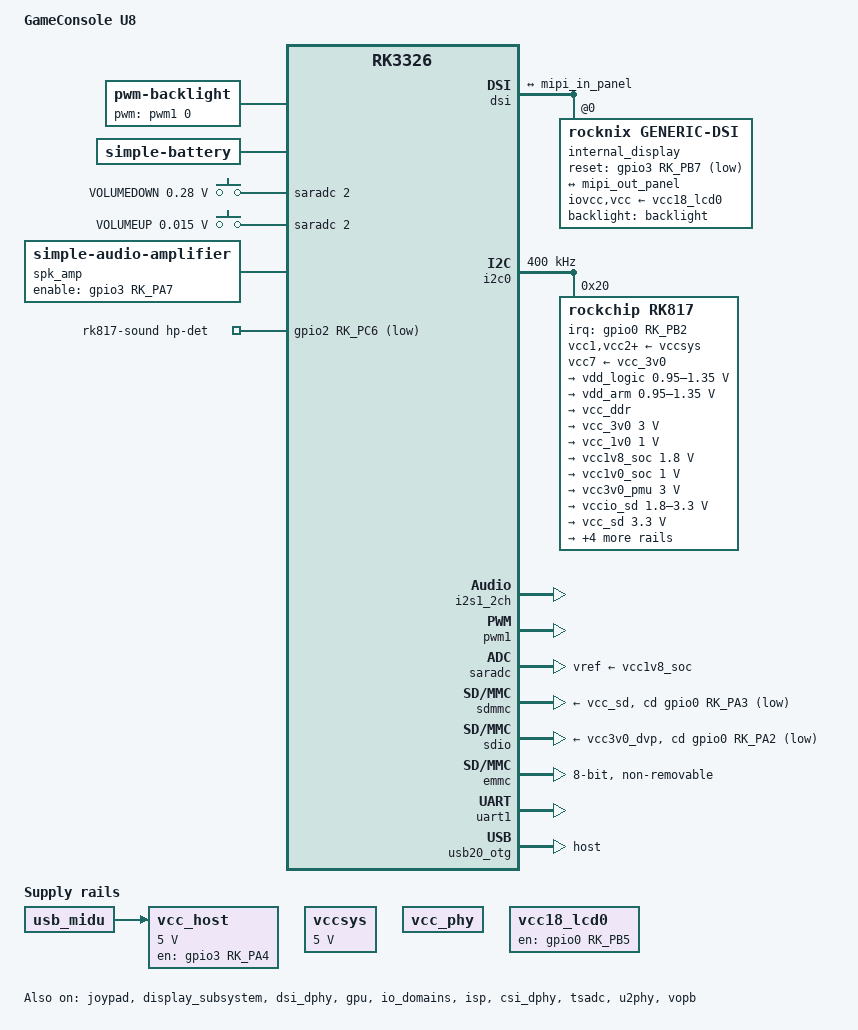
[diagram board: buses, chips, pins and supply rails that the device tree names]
// SPDX-License-Identifier: (GPL-2.0+ OR MIT)
/*
* Copyright (c) 2019 Hardkernel Co., Ltd
* Copyright (c) 2020 Theobroma Systems Design und Consulting GmbH
* Copyright (c) 2022 Maya Matuszczyk <maccraft123mc@gmail.com>
*/

/dts-v1/;
#include <dt-bindings/gpio/gpio.h>
#include <dt-bindings/input/input.h>
#include <dt-bindings/leds/common.h>
#include <dt-bindings/pinctrl/rockchip.h>
#include "rk3326.dtsi"
#include "retrogame_joypad_s2_f1.dtsi"

/ {
	model = "GameConsole U8";
	compatible = "gameconsole,u8", "rockchip,rk3326";
	
	aliases {
		mmc0 = &emmc;
		mmc1 = &sdmmc;
		mmc2 = &sdio;
	};
	
	chosen {
		systemd.debug_shell = "ttyS0";
	};
	
	backlight: backlight {
		compatible = "pwm-backlight";
		pwms = <&pwm1 0 25000 0>;
		brightness-levels = <
		0   1   2   3   4   5   6   7
		8   9  10  11  12  13  14  15
		16  17  18  19  20  21  22  23
		24  25  26  27  28  29  30  31
		32  33  34  35  36  37  38  39
		40  41  42  43  44  45  46  47
		48  49  50  51  52  53  54  55
		56  57  58  59  60  61  62  63
		64  65  66  67  68  69  70  71
		72  73  74  75  76  77  78  79
		80  81  82  83  84  85  86  87
		88  89  90  91  92  93  94  95
		96  97  98  99 100 101 102 103
		104 105 106 107 108 109 110 111
		112 113 114 115 116 117 118 119
		120 121 122 123 124 125 126 127
		128 129 130 131 132 133 134 135
		136 137 138 139 140 141 142 143
		144 145 146 147 148 149 150 151
		152 153 154 155 156 157 158 159
		160 161 162 163 164 165 166 167
		168 169 170 171 172 173 174 175
		176 177 178 179 180 181 182 183
		184 185 186 187 188 189 190 191
		192 193 194 195 196 197 198 199
		200 201 202 203 204 205 206 207
		208 209 210 211 212 213 214 215
		216 217 218 219 220 221 222 223
		224 225 226 227 228 229 230 231
		232 233 234 235 236 237 238 239
		240 241 242 243 244 245 246 247
		248 249 250 251 252 253 254 255>;
		default-brightness-level = <128>;
	};
	
	battery: battery {
		compatible = "simple-battery";
		charge-full-design-microamp-hours = <3000000>;
		charge-term-current-microamp = <200000>;
		constant-charge-current-max-microamp = <1500000>;
		constant-charge-voltage-max-microvolt = <4200000>;
		factory-internal-resistance-micro-ohms = <100000>;
		voltage-max-design-microvolt = <4100000>;
		voltage-min-design-microvolt = <3300000>;
		
		ocv-capacity-celsius = <20>;
		ocv-capacity-table-0 =
		<4046950 100>, <4001920 95>, <3967900 90>, <3940000 85>,
		<3910000 80>, <3870000 75>, <3830000 70>, <3790000 65>,
		<3750000 60>, <3720000 55>, <3690000 50>, <3650000 45>,
		<3610000 40>, <3570000 35>, <3540000 30>, <3500000 25>,
		<3460000 20>, <3420000 15>, <3380000 10>, <3340000 5>,
		<3300000 0>;
	};
	
	adc_keys: adc-keys {
		compatible = "adc-keys";
		io-channels = <&saradc 2>;
		io-channel-names = "buttons";
		keyup-threshold-microvolt = <1800000>;
		poll-interval = <60>;
		
		vol-down-key {
			label = "VOLUMEDOWN";
			linux,code = <KEY_VOLUMEDOWN>;
			press-threshold-microvolt = <280000>;
		};
		
		vol-up-key {
			label = "VOLUMEUP";
			linux,code = <KEY_VOLUMEUP>;
			press-threshold-microvolt = <15000>;
		};
	};
	
	spk_amp: audio-amplifier {
		compatible = "simple-audio-amplifier";
		enable-gpios = <&gpio3 RK_PA7 GPIO_ACTIVE_HIGH>;
		pinctrl-0 = <&spk_amp_enable_h>;
		pinctrl-names = "default";
		sound-name-prefix = "Speaker Amp";
	};
	
	rk817-sound {
		compatible = "simple-audio-card";
		pinctrl-names = "default";
		pinctrl-0 = <&hp_det>;
		simple-audio-card,name = "rk817_ext";
		simple-audio-card,aux-devs = <&spk_amp>;
		simple-audio-card,format = "i2s";
		simple-audio-card,hp-det-gpio = <&gpio2 RK_PC6 GPIO_ACTIVE_LOW>;
		simple-audio-card,mclk-fs = <256>;
		simple-audio-card,widgets =
		"Microphone", "Mic Jack",
		"Headphone", "Headphones",
		"Speaker", "Speaker";
		simple-audio-card,routing =
		"MICL", "Mic Jack",
		"Headphones", "HPOL",
		"Headphones", "HPOR",
		"Speaker", "SPKO";
		
		simple-audio-card,codec {
			sound-dai = <&rk817>;
		};
		
		simple-audio-card,cpu {
			sound-dai = <&i2s1_2ch>;
		};
	};
	
	vccsys: vccsys {
		compatible = "regulator-fixed";
		regulator-name = "vcc3v8_sys";
		regulator-always-on;
		regulator-boot-on;
		regulator-min-microvolt = <5000000>;
		regulator-max-microvolt = <5000000>;
	};
	
	vcc-phy-regulator {
		compatible = "regulator-fixed";
		regulator-name = "vcc_phy";
		regulator-always-on;
		regulator-boot-on;
	};
	
	vcc18_lcd0: vcc18-lcd0 {
		compatible = "regulator-fixed";
		regulator-name = "vcc18_lcd0_n";
		gpio = <&gpio0 RK_PB5 GPIO_ACTIVE_HIGH>;
		enable-active-high;
		pinctrl-0 = <&vcc18_lcd_n>;
		pinctrl-names = "default";
		regulator-boot-on;
		
		regulator-state-mem {
			regulator-off-in-suspend;
		};
	};
	
	vcc_host: vcc_host {
		compatible = "regulator-fixed";
		regulator-name = "vcc_host";
		regulator-min-microvolt = <5000000>;
		regulator-max-microvolt = <5000000>;
		gpio = <&gpio3 RK_PA4 GPIO_ACTIVE_HIGH>;
		pinctrl-0 = <&vcc5_usb>;
		pinctrl-names = "default";
		enable-active-high;
		regulator-always-on;
		regulator-boot-on;
		vin-supply = <&usb_midu>;
	};
};

&joypad {
	compatible = "rocknix-singleadc-joypad";
	joypad-name = "retrogame_joypad";
	joypad-product = <0x1101>;
	joypad-revision = <0x0100>;
	joypad-vendor = <0x484B>;
	
	status = "okay";
	
	/* gpio pincontrol setup */
	pinctrl-names = "default";
	pinctrl-0 = <&btn_pins>;
	
	/* Analog mux define */
	io-channel-names = "amux_adc";
	io-channels = <&saradc 1>;
	
	/* adc mux channel count */
	amux-count = <4>;
	amux-channel-mapping = <2 3 1 0>;
	/* adc mux select(a,b) gpio */
	amux-a-gpios = <&gpio2 RK_PC0 GPIO_ACTIVE_LOW>;
	amux-b-gpios = <&gpio2 RK_PB7 GPIO_ACTIVE_LOW>;
	/* adc mux enable gpio */
	amux-en-gpios = <&gpio2 RK_PB4 GPIO_ACTIVE_LOW>;
	/* adc calculate scale */
	button-adc-scale = <2>;
	/* adc deadzone range  */
	button-adc-deadzone = <64>;
	/*
	specifies fuzz value that is used to filter noise from
	the event stream.
	*/
	button-adc-fuzz = <32>;
	button-adc-flat = <32>;
	/*
	Analog Stick data tuning value(precent)
	p = positive direction, n = negative direction
	report value = (real_adc_data * tuning_value) / 100
	*/
	abs_x-p-tuning = <200>;
	abs_x-n-tuning = <200>;
	
	abs_y-p-tuning = <200>;
	abs_y-n-tuning = <200>;
	
	abs_rx-p-tuning = <200>;
	abs_rx-n-tuning = <200>;
	
	abs_ry-p-tuning = <200>;
	abs_ry-n-tuning = <200>;
	
	/* poll device interval (ms), adc read interval */
	poll-interval = <10>;
	/* required for RG351MP */
	invert-absx;
	invert-absy;
	invert-absrx;
	invert-absry;
up      { gpios = <&gpio3 RK_PC6 GPIO_ACTIVE_LOW>; };
down    { gpios = <&gpio3 RK_PC7 GPIO_ACTIVE_LOW>; };
left    { gpios = <&gpio3 RK_PC4 GPIO_ACTIVE_LOW>; };
right   { gpios = <&gpio3 RK_PC5 GPIO_ACTIVE_LOW>; };
a       { gpios = <&gpio3 RK_PC0 GPIO_ACTIVE_LOW>; };
b       { gpios = <&gpio3 RK_PC1 GPIO_ACTIVE_LOW>; };
y       { gpios = <&gpio3 RK_PC3 GPIO_ACTIVE_LOW>; };
x       { gpios = <&gpio3 RK_PC2 GPIO_ACTIVE_LOW>; };
select  { gpios = <&gpio3 RK_PD0 GPIO_ACTIVE_LOW>; };
start   { gpios = <&gpio3 RK_PD1 GPIO_ACTIVE_LOW>; };
mode    { gpios = <&gpio3 RK_PB2 GPIO_ACTIVE_LOW>; };
tl      { gpios = <&gpio3 RK_PB5 GPIO_ACTIVE_LOW>; };
tr      { gpios = <&gpio3 RK_PB3 GPIO_ACTIVE_LOW>; };
tl2     { gpios = <&gpio3 RK_PB6 GPIO_ACTIVE_LOW>; };
tr2     { gpios = <&gpio3 RK_PB4 GPIO_ACTIVE_LOW>; };
thumbl  { gpios = <&gpio2 RK_PB5 GPIO_ACTIVE_LOW>; };
thumbr  { gpios = <&gpio2 RK_PB6 GPIO_ACTIVE_LOW>; };
};

&dmc {
	center-supply = <&vdd_logic>;
};

&cpu0 {
	cpu-supply = <&vdd_arm>;
};

&cpu1 {
	cpu-supply = <&vdd_arm>;
};

&cpu2 {
	cpu-supply = <&vdd_arm>;
};

&cpu3 {
	cpu-supply = <&vdd_arm>;
};

&cru {
	assigned-clocks = <&cru PLL_NPLL>,
	<&cru ACLK_BUS_PRE>, <&cru ACLK_PERI_PRE>,
	<&cru HCLK_BUS_PRE>, <&cru HCLK_PERI_PRE>,
	<&cru PCLK_BUS_PRE>, <&cru SCLK_GPU>;
	
	assigned-clock-rates = <1188000000>,
	<200000000>, <200000000>,
	<150000000>, <150000000>,
	<100000000>, <200000000>;
};

&display_subsystem {
	status = "okay";
};

&dsi {
	status = "okay";
	
	ports {
		mipi_out: port@1 {
			reg = <1>;
			
			mipi_out_panel: endpoint {
				remote-endpoint = <&mipi_in_panel>;
			};
		};
	};
	
	internal_display: panel@0 {
		compatible = "rocknix,generic-dsi";
		iovcc-supply = <&vcc18_lcd0>;
		vcc-supply = <&vcc18_lcd0>;
		reg = <0>;
		rotation = <0x10e>;
		backlight = <&backlight>;
		reset-gpios = <&gpio3 RK_PB7 GPIO_ACTIVE_LOW>;
		pinctrl-names = "default";
		pinctrl-0 = <&lcd_rst>;
		panel_description =
		"G size=153,85 delays=20,20,20,120,20 format=rgb888 lanes=2 flags=0xe03",
		
		"M clock=30000 horizontal=480,32,6,32 vertical=800,10,4,12 default=1",
		"M clock=23600 horizontal=480,32,28,32 vertical=800,10,4,12",
		"M clock=22770 horizontal=480,32,6,32 vertical=800,10,6,12",
		"M clock=23930 horizontal=480,32,17,32 vertical=800,10,31,12",
		"M clock=30360 horizontal=480,32,6,32 vertical=800,10,138,12",
		"M clock=33320 horizontal=480,32,27,32 vertical=800,10,155,12",
		"M clock=31440 horizontal=480,32,28,32 vertical=800,10,95,12",
		"M clock=30030 horizontal=480,32,28,32 vertical=800,10,53,12",
		"M clock=33820 horizontal=480,32,21,32 vertical=800,10,174,12",
		"M clock=40280 horizontal=480,32,25,32 vertical=800,10,116,12",
		"M clock=41580 horizontal=480,32,6,32 vertical=800,10,18,12",
		"M clock=54780 horizontal=480,32,6,32 vertical=800,10,8,12",
		
		"I seq=ffff98060401",
		"I seq=0810",
		"I seq=2101",
		"I seq=2203",
		"I seq=3002",
		"I seq=3102",
		"I seq=6007",
		"I seq=6106",
		"I seq=6206",
		"I seq=6304",
		"I seq=4015",
		"I seq=4133",
		"I seq=4200",
		"I seq=430b",
		"I seq=4409",
		"I seq=5070",
		"I seq=5170",
		"I seq=5200",
		"I seq=5352",
		
		"I seq=a000",
		"I seq=a10c",
		"I seq=a214",
		"I seq=a30c",
		"I seq=a405",
		"I seq=a50b",
		"I seq=a607",
		"I seq=a706",
		"I seq=a806",
		"I seq=a90a",
		"I seq=aa0f",
		"I seq=ab06",
		"I seq=ac0c",
		"I seq=ad17",
		"I seq=ae0d",
		"I seq=af00",
		
		"I seq=c000",
		"I seq=c10c",
		"I seq=c214",
		"I seq=c30c",
		"I seq=c406",
		"I seq=c50b",
		"I seq=c607",
		"I seq=c706",
		"I seq=c806",
		"I seq=c90a",
		"I seq=ca0f",
		"I seq=cb06",
		"I seq=cc0c",
		"I seq=cd17",
		"I seq=ce0d",
		"I seq=cf00",
		
		"I seq=ffff98060406",
		"I seq=0020",
		"I seq=0105",
		"I seq=0200",
		"I seq=0300",
		"I seq=0401",
		"I seq=0501",
		"I seq=0688",
		"I seq=0704",
		"I seq=0801",
		"I seq=0990",
		"I seq=0a04",
		"I seq=0b01",
		"I seq=0c01",
		"I seq=0d01",
		"I seq=0e00",
		"I seq=0f00",
		
		"I seq=1055",
		"I seq=1150",
		"I seq=1201",
		"I seq=130c",
		"I seq=140d",
		"I seq=1543",
		"I seq=160b",
		"I seq=1700",
		"I seq=1800",
		"I seq=1900",
		"I seq=1a00",
		"I seq=1b00",
		"I seq=1c00",
		"I seq=1d00",
		
		"I seq=2001",
		"I seq=2123",
		"I seq=2245",
		"I seq=2367",
		"I seq=2401",
		"I seq=2523",
		"I seq=2645",
		"I seq=2767",
		
		"I seq=3002",
		"I seq=3122",
		"I seq=3211",
		"I seq=33aa",
		"I seq=34bb",
		"I seq=3566",
		"I seq=3600",
		"I seq=3722",
		"I seq=3822",
		"I seq=3922",
		"I seq=3a22",
		"I seq=3b22",
		"I seq=3c22",
		"I seq=3d22",
		"I seq=3e22",
		"I seq=3f22",
		"I seq=4022",
		
		"I seq=5210",
		"I seq=5310",
		
		"I seq=ffff98060407",
		"I seq=0011",
		"I seq=181d",
		"I seq=1722",
		"I seq=0277",
		"I seq=e179",
		
		"I seq=ffff98060400",
		"I seq=11 wait=120",
		"I seq=29 wait=20";
		
		port {
			mipi_in_panel: endpoint {
				remote-endpoint = <&mipi_out_panel>;
			};
		};
	};
};

&dsi_dphy {
	status = "okay";
};

&gpu {
	mali-supply = <&vdd_logic>;
	status = "okay";
};

&i2c0 {
	clock-frequency = <400000>;
	i2c-scl-falling-time-ns = <16>;
	i2c-scl-rising-time-ns = <280>;
	status = "okay";
	
	rk817: pmic@20 {
		compatible = "rockchip,rk817";
		reg = <0x20>;
		interrupt-parent = <&gpio0>;
		interrupts = <RK_PB2 IRQ_TYPE_LEVEL_LOW>;
		clock-output-names = "rk808-clkout1", "xin32k";
		clock-names = "mclk";
		clocks = <&cru SCLK_I2S1_OUT>;
		pinctrl-names = "default";
		pinctrl-0 = <&pmic_int>, <&i2s1_2ch_mclk>;
		rockchip,system-power-controller;
		wakeup-source;
		#clock-cells = <1>;
		#sound-dai-cells = <0>;
		
		vcc1-supply = <&vccsys>;
		vcc2-supply = <&vccsys>;
		vcc3-supply = <&vccsys>;
		vcc4-supply = <&vccsys>;
		vcc5-supply = <&vccsys>;
		vcc6-supply = <&vccsys>;
		vcc7-supply = <&vcc_3v0>;
		vcc8-supply = <&vccsys>;
		
		regulators {
			vdd_logic: DCDC_REG1 {
				regulator-name = "vdd_logic";
				regulator-min-microvolt = <950000>;
				regulator-max-microvolt = <1350000>;
				regulator-initial-mode = <0x02>;
				regulator-ramp-delay = <6001>;
				regulator-always-on;
				regulator-boot-on;
				
				regulator-state-mem {
					regulator-on-in-suspend;
					regulator-suspend-microvolt = <950000>;
				};
			};
			
			vdd_arm: DCDC_REG2 {
				regulator-name = "vdd_arm";
				regulator-min-microvolt = <950000>;
				regulator-max-microvolt = <1350000>;
				regulator-ramp-delay = <6001>;
				regulator-initial-mode = <0x02>;
				regulator-always-on;
				regulator-boot-on;
				
				regulator-state-mem {
					regulator-off-in-suspend;
					regulator-suspend-microvolt = <950000>;
				};
			};
			
			vcc_ddr: DCDC_REG3 {
				regulator-name = "vcc_ddr";
				regulator-always-on;
				regulator-boot-on;
				regulator-initial-mode = <0x02>;
				
				regulator-state-mem {
					regulator-on-in-suspend;
				};
			};
			
			vcc_3v0: DCDC_REG4 {
				regulator-name = "vcc_3v0";
				regulator-min-microvolt = <3000000>;
				regulator-max-microvolt = <3000000>;
				regulator-initial-mode = <0x02>;
				regulator-always-on;
				regulator-boot-on;
				
				regulator-state-mem {
					regulator-off-in-suspend;
					regulator-suspend-microvolt = <3000000>;
				};
			};
			
			vcc_1v0: LDO_REG1 {
				regulator-name = "vcc_1v0";
				regulator-always-on;
				regulator-boot-on;
				regulator-min-microvolt = <1000000>;
				regulator-max-microvolt = <1000000>;
				
				regulator-state-mem {
					regulator-on-in-suspend;
					regulator-suspend-microvolt = <1000000>;
				};
			};
			
			vcc1v8_soc: LDO_REG2 {
				regulator-name = "vcc1v8_soc";
				regulator-min-microvolt = <1800000>;
				regulator-max-microvolt = <1800000>;
				regulator-always-on;
				regulator-boot-on;
				
				regulator-state-mem {
					regulator-on-in-suspend;
					regulator-suspend-microvolt = <1800000>;
				};
			};
			
			vcc1v0_soc: LDO_REG3 {
				regulator-name = "vcc1v0_soc";
				regulator-min-microvolt = <1000000>;
				regulator-max-microvolt = <1000000>;
				regulator-always-on;
				regulator-boot-on;
				
				regulator-state-mem {
					regulator-on-in-suspend;
					regulator-suspend-microvolt = <1000000>;
				};
			};
			
			vcc3v0_pmu: LDO_REG4 {
				regulator-name = "vcc3v0_pmu";
				regulator-min-microvolt = <3000000>;
				regulator-max-microvolt = <3000000>;
				regulator-always-on;
				regulator-boot-on;
				
				regulator-state-mem {
					regulator-on-in-suspend;
					regulator-suspend-microvolt = <3000000>;
				};
			};
			
			vccio_sd: LDO_REG5 {
				regulator-name = "vccio_sd";
				regulator-min-microvolt = <1800000>;
				regulator-max-microvolt = <3300000>;
				regulator-always-on;
				regulator-boot-on;
				
				regulator-state-mem {
					regulator-on-in-suspend;
					regulator-suspend-microvolt = <3300000>;
				};
			};
			
			vcc_sd: LDO_REG6 {
				regulator-name = "vcc_sd";
				regulator-min-microvolt = <3300000>;
				regulator-max-microvolt = <3300000>;
				
				regulator-state-mem {
					regulator-on-in-suspend;
					regulator-suspend-microvolt = <3300000>;
				};
			};
			
			vcc2v8_dvp: LDO_REG7 {
				regulator-name = "vcc2v8_dvp";
				regulator-min-microvolt = <1800000>;
				regulator-max-microvolt = <3300000>;
				regulator-always-on;
				regulator-boot-on;
				
				regulator-state-mem {
					regulator-on-in-suspend;
					regulator-suspend-microvolt = <3300000>;
				};
			};
			
			vcc3v0_dvp: LDO_REG8 {
				regulator-name = "vcc3v0_dvp";
				regulator-min-microvolt = <3300000>;
				regulator-max-microvolt = <3300000>;
				regulator-always-on;
				regulator-boot-on;
				
				regulator-state-mem {
					regulator-on-in-suspend;
					regulator-suspend-microvolt = <3300000>;
				};
			};
			
			vdd1v5_dvp: LDO_REG9 {
				regulator-min-microvolt = <1500000>;
				regulator-max-microvolt = <1500000>;
				regulator-name = "vdd1v5_dvp";
				regulator-always-on;
				regulator-boot-on;
				
				regulator-state-mem {
					regulator-off-in-suspend;
					regulator-suspend-microvolt = <1500000>;
				};
			};
			
			usb_midu: BOOST {
				regulator-name = "usb_midu";
				regulator-min-microvolt = <4700000>;
				regulator-max-microvolt = <5400000>;
				regulator-always-on;
				regulator-boot-on;
			};
			
		};
		
		rk817_charger: charger {
			monitored-battery = <&battery>;
			rockchip,resistor-sense-micro-ohms = <10000>;
			rockchip,sleep-enter-current-microamp = <300000>;
			rockchip,sleep-filter-current-microamp = <100000>;
		};
		
		rk817_codec: codec {
			rockchip,mic-in-differential;
		};
	};
};

/* I2S 1 Channel Used Header(P2):1(GPIO2.C3),2(.C2), 3(.C1), 4(.C5), 5(.C4) */
&i2s1_2ch {
	status = "okay";
	#sound-dai-cells = <0>;
};

&io_domains {
	vccio1-supply = <&vcc2v8_dvp>;
	vccio2-supply = <&vccio_sd>;
	vccio3-supply = <&vcc1v8_soc>;
	vccio4-supply = <&vcc_3v0>;
	vccio5-supply = <&vcc_3v0>;
	vccio6-supply = <&vcc1v8_soc>;
	status = "okay";
};

&isp {
	status = "okay";
};

&isp_mmu {
	status = "okay";
};

&pmu_io_domains {
	pmuio1-supply = <&vcc3v0_pmu>;
	pmuio2-supply = <&vcc3v0_pmu>;
	status = "okay";
};

&csi_dphy {
	status = "okay";
};

&pwm1 {
	status = "okay";
};

&saradc {
	vref-supply = <&vcc1v8_soc>;
	status = "okay";
};

&sdmmc {
	cap-sd-highspeed;
	card-detect-delay = <200>;
	cd-gpios = <&gpio0 RK_PA3 GPIO_ACTIVE_LOW>; /*[> ff370000 PD_SDCARD CD GPIO <]*/
	sd-uhs-sdr12;
	sd-uhs-sdr25;
	sd-uhs-sdr50;
	sd-uhs-sdr104;
	vmmc-supply = <&vcc_sd>;
	vqmmc-supply = <&vccio_sd>;
	status = "okay";
};

&sdio {
	cap-sd-highspeed;
	cd-gpios = <&gpio0 RK_PA2 GPIO_ACTIVE_LOW>; /*[> CD GPIO <]*/
	max-frequency = <0x5f5e100>;
	card-detect-delay = <0x320>;
	supports-sd;
	sd-uhs-sdr12;
	sd-uhs-sdr25;
	sd-uhs-sdr50;
	sd-uhs-sdr104;
	vmmc-supply = <&vcc3v0_dvp>;
	vqmmc-supply = <&vcc2v8_dvp>;
	status = "okay";
};

&emmc {
	no-sdio;
	no-sd;
	disable-wp;
	cap-mmc-highspeed;
	non-removable;
	bus-width = <0x08>;
	fifo-depth = <0x100>;
	max-frequency = <0x8f0d180>;
	num-slots = <0x01>;
	status = "okay";
};

&tsadc {
	status = "okay";
};

&u2phy {
	status = "okay";
	
	u2phy_host: host-port {
		status = "okay";
	};
	
	u2phy_otg: otg-port {
		status = "okay";
	};
};

/* FIQ Header(P2): 2(RXD:GPIO2.B4),3(TXD:.B6) */
&uart2 {
	status = "disabled";
};

&uart1 {
	status = "okay";
};

&usb20_otg {
	status = "okay";
	dr_mode = "host";
};

&vopb {
	status = "okay";
};

&vopb_mmu {
	status = "okay";
};

&pinctrl {
	btns {
		btn_pins: btn-pins {
			rockchip,pins =
			<3 RK_PC6 RK_FUNC_GPIO &pcfg_pull_up>,
			<3 RK_PC7 RK_FUNC_GPIO &pcfg_pull_up>,
			<3 RK_PC4 RK_FUNC_GPIO &pcfg_pull_up>,
			<3 RK_PC5 RK_FUNC_GPIO &pcfg_pull_up>,
			<3 RK_PC0 RK_FUNC_GPIO &pcfg_pull_up>,
			<3 RK_PC1 RK_FUNC_GPIO &pcfg_pull_up>,
			<3 RK_PC3 RK_FUNC_GPIO &pcfg_pull_up>,
			<3 RK_PC2 RK_FUNC_GPIO &pcfg_pull_up>,
			<3 RK_PD0 RK_FUNC_GPIO &pcfg_pull_up>,
			<3 RK_PD1 RK_FUNC_GPIO &pcfg_pull_up>,
			<3 RK_PB2 RK_FUNC_GPIO &pcfg_pull_up>,
			<3 RK_PB5 RK_FUNC_GPIO &pcfg_pull_up>,
			<3 RK_PB3 RK_FUNC_GPIO &pcfg_pull_up>,
			<3 RK_PB6 RK_FUNC_GPIO &pcfg_pull_up>,
			<3 RK_PB4 RK_FUNC_GPIO &pcfg_pull_up>,
			<2 RK_PB5 RK_FUNC_GPIO &pcfg_pull_up>,
			<2 RK_PB6 RK_FUNC_GPIO &pcfg_pull_up>;
		};
	};
	
	headphone {
		hp_det: hp-det {
			rockchip,pins = <2 RK_PC6 RK_FUNC_GPIO &pcfg_pull_up>;
		};
	};
	
	gpio-lcd {
		lcd_rst: lcd-rst {
			rockchip,pins = <3 RK_PB7 RK_FUNC_GPIO &pcfg_pull_none>;
		};
	};
	
	vcc18-lcd {
		vcc18_lcd_n: vcc18-lcd-n {
			rockchip,pins = <0 RK_PB5 RK_FUNC_GPIO &pcfg_pull_none>;
		};
	};
	
	vcc5-usb {
		vcc5_usb: vcc5-usb {
			rockchip,pins = <3 RK_PA4 RK_FUNC_GPIO &pcfg_pull_none>;
		};
	};
	
	gpio-led {
		led_pins: led-pins {
			rockchip,pins =
			<0 RK_PC1 RK_FUNC_GPIO &pcfg_pull_none>,
			<0 RK_PA0 RK_FUNC_GPIO &pcfg_pull_none>;
		};
	};
	
	pmic {
		dc_det: dc-det {
			rockchip,pins = <0 RK_PB3 RK_FUNC_GPIO &pcfg_pull_none>;
		};
		
		pmic_int: pmic-int {
			rockchip,pins = <0 RK_PB2 RK_FUNC_GPIO &pcfg_pull_up>;
		};
		
		soc_slppin_gpio: soc_slppin_gpio {
			rockchip,pins = <0 RK_PA4 RK_FUNC_GPIO &pcfg_output_low>;
		};
		
		soc_slppin_rst: soc_slppin_rst {
			rockchip,pins = <0 RK_PA4 2 &pcfg_pull_none>;
		};
		
		soc_slppin_slp: soc_slppin_slp {
			rockchip,pins = <0 RK_PA4 1 &pcfg_pull_none>;
		};
	};
	
	speaker {
		spk_amp_enable_h: spk-amp-enable-h {
			rockchip,pins =
			<3 RK_PA7 RK_FUNC_GPIO &pcfg_pull_none>;
		};
	};
};
